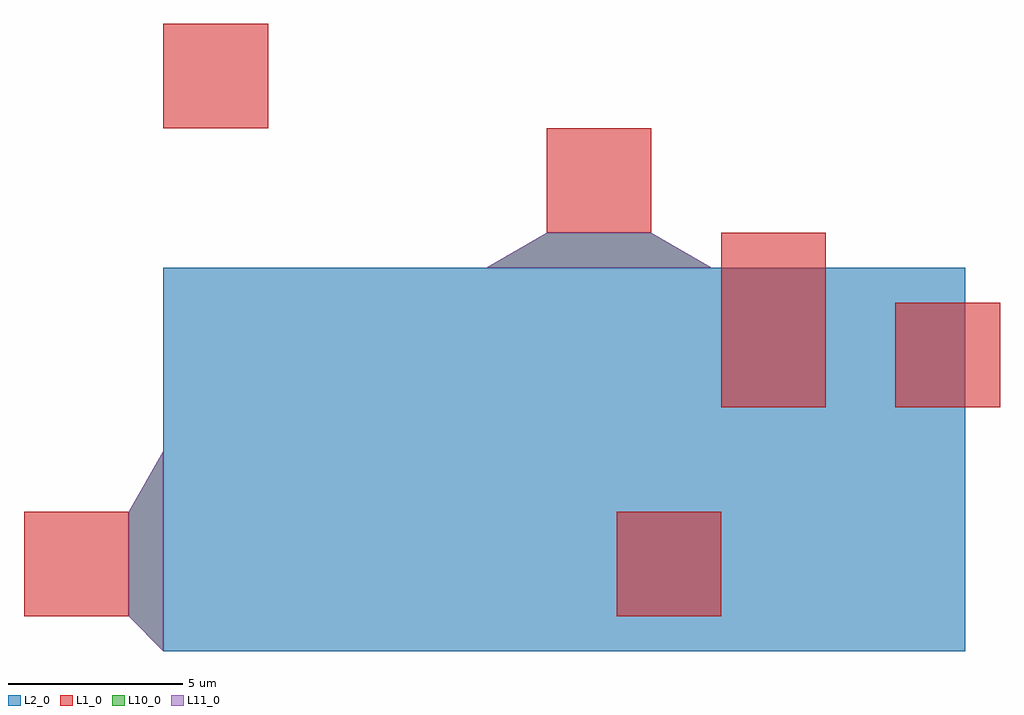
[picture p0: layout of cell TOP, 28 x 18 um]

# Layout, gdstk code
import gdstk
lib = gdstk.Library(unit=1e-6, precision=1e-09)
def R(c, l, rs):  # rectangles x0, y0, x1, y1
    for r in rs: c.add(gdstk.rectangle(r[:2], r[2:], *l))
def P(c, l, *ps):  # polygons
    for p in ps: c.add(gdstk.Polygon(p, *l))
L1_0 = (1, 0)
L2_0 = (2, 0)
L10_0 = (10, 0)
L11_0 = (11, 0)

top = lib.new_cell('TOP')
R(top, L1_0, [(-4,1,-1,4), (13,1,16,4), (16,7,19,12), (21,7,24,10), (11,12,14,15), (0,15,3,18)])
R(top, L2_0, [(0,0,23,11), (17,0,23,6)])
P(top, L10_0, [(0,0),(-1,1),(-1,4),(0,5.732)],
  [(9.268,11),(11,12),(14,12),(15.732,11)])
P(top, L11_0, [(0,0),(-1,1),(-1,4),(0,5.732)],
  [(9.268,11),(11,12),(14,12),(15.732,11)])

lib.write_gds('TOP.gds')
